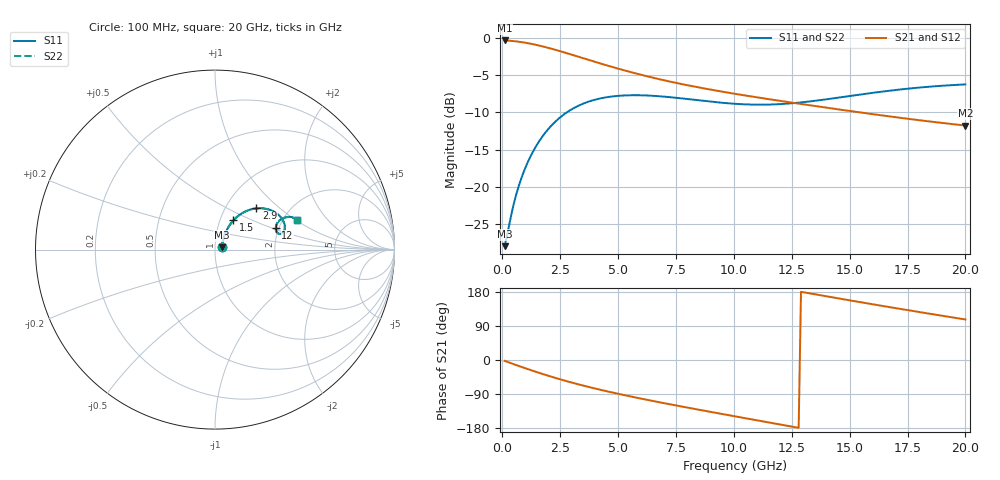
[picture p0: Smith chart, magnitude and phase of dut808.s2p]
! Touchstone file exported from HFSS 2024.1.0
!  File:  C:/UserFiles/LocalFiles/RDL_TSV_Batchsim/temp_RDL_TSV_808_1779912205.aedt
!  Generated:  04:18:56 AM May 28, 2026
!  Design:  RDL_TSV
!  Project:  temp_RDL_TSV_808_1779912205
!  Setup:  Setup1
!  Solution:  Sweep
! Variables:
!  dtsv = 10.5um
!  hbump = 3um
!  htsv = 51.77um
!  ldown = 586.3um
!  lrdl = 553.51um
!  p = 40
!  p1 = 58.34um
!  rhole = 10um
!  subl = 3972.94um
!  t = 450um
!  tdown = 3.4um
!  trdl = 2.29um
!  viad = 10um
!  wdown = 15.34um
!  wrdl = 12.63um
!  xbump = 18um
# GHz S MA R 50.000000
! Terminal data exported
! Port[1] = TM1_1_T1
! Port[2] = TM1_4_T1
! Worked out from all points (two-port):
!   200 points, 100 MHz to 20 GHz, reference 50 ohm
!   highest |S21| = -0.34 dB at 100 MHz (marker M1); lowest = -11.8 dB at 20 GHz (marker M2)
!   |S21| within 3 dB of the highest: start of sweep to 4.142 GHz
!   lowest |S11| = -27.9 dB at 100 MHz (marker M3), VSWR 1.08, Z = 53.9 + j1.39 ohm
!   |S11| at or under -10 dB: start of sweep to 2.78 GHz
!   |S22| runs from -27.9 to -6.3 dB; largest |S21 - S12| = 1.2e-14
!   S11 on the Smith chart (normalised r, x): 100 MHz: 1.08, +0.03; 1.5 GHz: 1.16, +0.39; 2.9 GHz: 1.39, +0.71; 12 GHz: 1.92, +0.54; 20 GHz: 2.37, +1.04
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0.1  0.04005 18.7  0.962 -2.3  0.962 -2.3  0.04005 18.7
! Gamma 0 0 0 0
! Port Impedance 50 0 50 0
0.5  0.07743 52.6  0.9524 -11.2  0.9524 -11.2  0.07743 52.6
0.7  0.1002 57.0  0.9442 -15.5  0.9442 -15.5  0.1002 56.9
0.9  0.1233 58.8  0.9343 -19.8  0.9343 -19.8  0.1234 58.8
1.1  0.1466 59.2  0.9228 -24.0  0.9228 -24.0  0.1466 59.2
1.5  0.1924 57.9  0.8959 -32.2  0.8959 -32.2  0.1923 57.8
1.8  0.2252 55.7  0.873 -38.1  0.873 -38.1  0.2252 55.6
2.2  0.2659 52.1  0.8404 -45.6  0.8404 -45.6  0.2658 52.0
2.9  0.3253 45.0  0.7808 -57.9  0.7808 -57.9  0.325 44.9
3.5  0.3628 38.9  0.7308 -67.6  0.7308 -67.6  0.3624 38.8
4.3  0.3947 31.6  0.6696 -79.5  0.6696 -79.5  0.3942 31.5
5.1  0.4098 25.5  0.6162 -90.5  0.6162 -90.5  0.4091 25.4
5.9  0.4127 20.7  0.5707 -100.7  0.5707 -100.7  0.4118 20.6
6.8  0.4061 16.8  0.5278 -111.7  0.5278 -111.7  0.4051 16.6
8.4  0.3828 13.6  0.4682 -130.2  0.4682 -130.2  0.3816 13.5
10.1  0.361 15.0  0.4205 -149.3  0.4205 -149.3  0.3597 14.8
12  0.3598 19.8  0.3781 -170.3  0.3781 -170.3  0.3585 19.7
13.4  0.3769 23.0  0.3512 174.5  0.3512 174.5  0.3755 22.9
15.1  0.4096 24.8  0.322 156.4  0.322 156.4  0.4082 24.7
16.7  0.4421 24.3  0.2978 139.8  0.2978 139.8  0.4405 24.2
18.3  0.4689 22.5  0.2769 123.6  0.2769 123.6  0.4672 22.4
20  0.4877 20.0  0.2585 106.9  0.2585 106.9  0.4859 19.9
